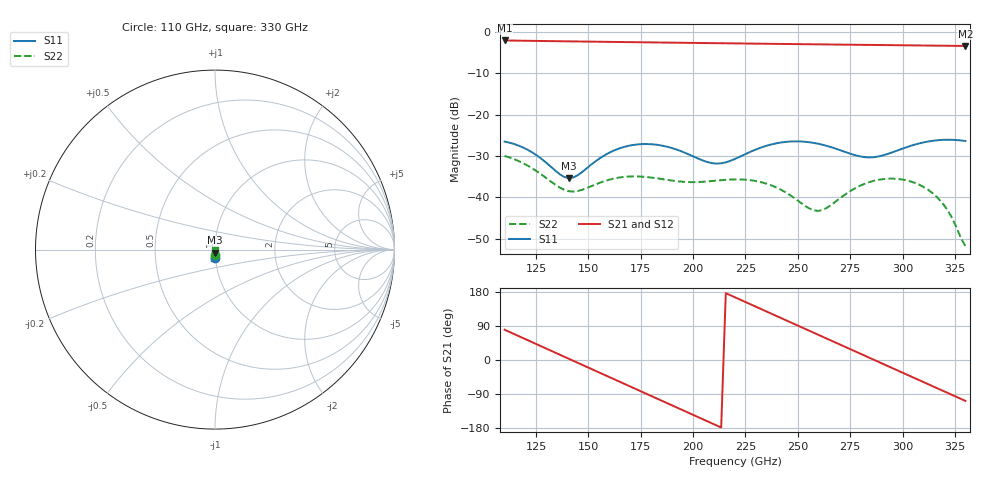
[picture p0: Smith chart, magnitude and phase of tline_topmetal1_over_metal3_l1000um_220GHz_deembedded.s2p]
! Created with skrf 2.0.1 (http://scikit-rf.org).
# GHz S DB R 50.0
!freq dBS11 angS11 dBS21 angS21 dBS12 angS12 dBS22 angS22
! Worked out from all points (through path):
!   101 points, 110 GHz to 330 GHz, reference 50 ohm
!   highest |S21| = -2.01 dB at 110 GHz (marker M1); lowest = -3.3 dB at 330 GHz (marker M2)
!   group delay of S21, straight-line fit = 6.92 ps
!   lowest |S11| = -35.4 dB at 140.8 GHz (marker M3), VSWR 1.03, Z = 50 - j1.7 ohm
!   |S11| at or under -10 dB: start of sweep to end of sweep
!   |S22| runs from -51.9 to -30.0 dB; largest |S21 - S12| = 7.9e-14
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110  -26.51 -92.2  -2.01 79.9  -2.01 79.9  -30.00 -91.4
127.6  -30.69 -113.9  -2.14 35.8  -2.14 35.8  -34.50 -111.0
140.8  -35.38 -88.1  -2.23 2.9  -2.23 2.9  -38.54 -94.0
147.4  -33.74 -66.5  -2.27 -13.6  -2.27 -13.6  -38.13 -79.8
156.2  -30.30 -62.0  -2.33 -35.6  -2.33 -35.6  -36.35 -74.5
167.2  -27.79 -73.0  -2.40 -63.0  -2.40 -63.0  -35.06 -81.1
176  -27.12 -84.9  -2.45 -84.9  -2.45 -84.9  -35.02 -88.4
184.8  -27.45 -96.2  -2.51 -106.9  -2.51 -106.9  -35.57 -93.5
202.4  -30.62 -103.6  -2.62 -150.7  -2.62 -150.7  -36.31 -94.2
211.2  -31.84 -91.0  -2.67 -172.6  -2.67 -172.6  -35.96 -95.9
220  -30.72 -77.3  -2.72 165.4  -2.72 165.4  -35.68 -102.0
228.8  -28.67 -75.0  -2.77 143.5  -2.77 143.5  -35.97 -111.1
239.8  -26.92 -82.8  -2.84 116.2  -2.84 116.2  -37.64 -122.5
248.6  -26.46 -92.0  -2.89 94.3  -2.89 94.3  -40.30 -125.2
257.4  -26.82 -100.7  -2.94 72.4  -2.94 72.4  -43.14 -109.0
264  -27.58 -105.3  -2.98 56.0  -2.98 56.0  -42.53 -87.8
277.2  -29.79 -103.2  -3.05 23.2  -3.05 23.2  -37.85 -82.1
286  -30.31 -91.6  -3.10 1.3  -3.10 1.3  -36.05 -94.2
294.8  -29.17 -82.1  -3.15 -20.5  -3.15 -20.5  -35.48 -110.2
314.6  -26.31 -87.7  -3.26 -69.7  -3.26 -69.7  -39.11 -148.2
321.2  -26.07 -93.1  -3.29 -86.1  -3.29 -86.1  -42.91 -156.1
330  -26.37 -99.7  -3.34 -107.9  -3.34 -107.9  -51.85 -116.5
